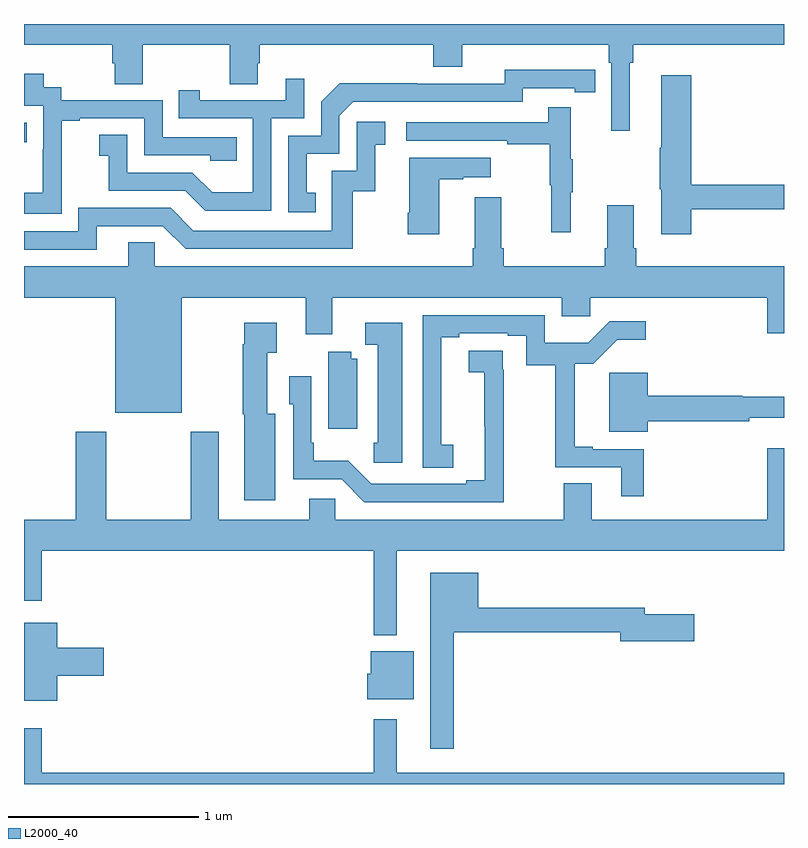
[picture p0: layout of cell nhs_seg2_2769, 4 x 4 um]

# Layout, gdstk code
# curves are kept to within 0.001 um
import gdstk
lib = gdstk.Library(unit=1e-6, precision=1e-09)
def R(c, l, rs):  # rectangles x0, y0, x1, y1
    for r in rs: c.add(gdstk.rectangle(r[:2], r[2:], *l))
def P(c, l, *ps):  # polygons
    for p in ps: c.add(gdstk.Polygon(p, *l))
L2000_40 = (2000, 40)

nhs_seg2_2769 = lib.new_cell('nhs_seg2_2769')
R(nhs_seg2_2769, L2000_40, [(257,591.178,257.015,591.279)])
P(nhs_seg2_2769, L2000_40, [(260.188,591.596),(260.207,591.596),(260.207,591.692),(261,591.692),(261,591.8),(257,591.8),(257,591.692),(257.465,591.692),(257.465,591.594),(257.477,591.594),(257.477,591.484),(257.625,591.484),(257.625,591.692),(258.082,591.692),(258.082,591.484),(258.229,591.484),(258.229,591.594),(258.242,591.594),(258.242,591.692),(259.154,591.692),(259.154,591.575),(259.306,591.575),(259.306,591.692),(260.078,591.692),(260.078,591.596),(260.091,591.596),(260.091,591.237),(260.188,591.237)],
  [(258.536,590.913),(258.487,590.913),(258.487,591.117),(258.66,591.117),(258.66,591.318),(258.732,591.39),(259.626,591.39),(259.626,591.462),(259.898,591.462),(259.898,591.442),(260.006,591.442),(260.006,591.558),(259.53,591.559),(259.53,591.486),(259.07,591.486),(259.07,591.488),(258.662,591.488),(258.564,591.39),(258.564,591.213),(258.39,591.213),(258.39,590.808),(258.536,590.808)],
  [(257.199,591.007),(257.198,591.007),(257.198,591.291),(257.293,591.291),(257.293,591.303),(257.634,591.303),(257.634,591.108),(257.979,591.108),(257.979,591.081),(258.119,591.081),(258.119,591.204),(257.73,591.204),(257.73,591.399),(257.196,591.399),(257.196,591.468),(257.104,591.468),(257.104,591.538),(257,591.538),(257,591.369),(257.1,591.369),(257.1,591.14),(257.099,591.14),(257.099,590.911),(257.001,590.911),(257.001,590.801),(257.199,590.801)],
  [(260.513,590.826),(261,590.826),(261,590.954),(260.513,590.954),(260.513,591.529),(260.354,591.529),(260.354,591.149),(260.347,591.149),(260.347,590.931),(260.354,590.931),(260.354,590.694),(260.513,590.694)],
  [(258.3,591.303),(258.474,591.303),(258.474,591.511),(258.377,591.511),(258.377,591.399),(257.926,591.399),(257.926,591.451),(257.815,591.451),(257.815,591.303),(258.204,591.303),(258.204,590.914),(257.99,590.914),(257.886,591.018),(257.544,591.018),(257.544,591.217),(257.397,591.217),(257.397,591.107),(257.446,591.107),(257.446,590.922),(257.849,590.922),(257.954,590.817),(258.3,590.817)],
  [(259.877,590.915),(259.888,590.915),(259.888,591.089),(259.877,591.089),(259.877,591.361),(259.759,591.361),(259.759,591.282),(259.011,591.282),(259.011,591.186),(259.543,591.186),(259.543,591.166),(259.767,591.166),(259.767,590.952),(259.774,590.952),(259.774,590.703),(259.877,590.703)],
  [(257.383,590.736),(257.73,590.736),(257.85,590.616),(258.73,590.616),(258.73,590.919),(258.848,590.919),(258.848,591.165),(258.901,591.165),(258.901,591.286),(258.75,591.286),(258.75,591.027),(258.621,591.027),(258.621,590.712),(257.892,590.712),(257.772,590.832),(257.286,590.832),(257.286,590.709),(257,590.709),(257,590.613),(257.383,590.613)],
  [(259.186,590.983),(259.313,590.983),(259.313,590.993),(259.456,590.993),(259.456,591.097),(259.028,591.097),(259.028,590.806),(259.021,590.806),(259.021,590.694),(259.186,590.694)],
  [(260.222,590.62),(260.209,590.62),(260.209,590.845),(260.069,590.845),(260.069,590.62),(260.057,590.62),(260.057,590.524),(259.526,590.524),(259.526,590.62),(259.513,590.62),(259.513,590.887),(259.373,590.887),(259.373,590.62),(259.361,590.62),(259.361,590.524),(257.688,590.524),(257.688,590.651),(257.549,590.651),(257.549,590.524),(257,590.524),(257,590.36),(257.48,590.36),(257.48,589.754),(257.83,589.754),(257.83,590.36),(258.482,590.36),(258.482,590.166),(258.622,590.166),(258.622,590.36),(259.829,590.36),(259.829,590.262),(259.981,590.262),(259.981,590.36),(260.912,590.36),(260.912,590.172),(261,590.172),(261,590.524),(260.222,590.524)],
  [(260.261,589.563),(259.993,589.563),(259.993,589.576),(259.898,589.576),(259.898,590.013),(259.997,590.013),(260.123,590.138),(260.272,590.138),(260.272,590.235),(260.082,590.235),(259.969,590.122),(259.74,590.122),(259.74,590.268),(259.098,590.268),(259.098,589.465),(259.258,589.465),(259.258,589.585),(259.197,589.585),(259.197,589.889),(259.195,589.889),(259.195,590.152),(259.291,590.152),(259.291,590.172),(259.547,590.172),(259.547,590.158),(259.644,590.158),(259.644,590.005),(259.795,590.005),(259.795,589.467),(260.144,589.467),(260.144,589.314),(260.261,589.314)],
  [(258.991,590.227),(258.795,590.227),(258.795,590.112),(258.863,590.112),(258.863,589.596),(258.841,589.596),(258.841,589.491),(258.991,589.491)],
  [(258.322,589.75),(258.28,589.75),(258.28,590.071),(258.331,590.071),(258.331,590.227),(258.158,590.227),(258.158,590.114),(258.151,590.114),(258.151,589.746),(258.158,589.746),(258.158,589.293),(258.322,589.293)],
  [(259.526,589.979),(259.52,589.979),(259.52,590.081),(259.341,590.081),(259.341,589.966),(259.423,589.966),(259.424,589.4),(259.328,589.4),(259.328,589.38),(258.828,589.38),(258.707,589.501),(258.526,589.501),(258.526,589.597),(258.513,589.597),(258.513,589.945),(258.396,589.945),(258.396,589.8),(258.417,589.8),(258.417,589.404),(258.672,589.404),(258.792,589.284),(259.526,589.284)],
  [(258.754,590.038),(258.722,590.038),(258.722,590.075),(258.602,590.075),(258.602,589.671),(258.754,589.671)],
  [(260.284,589.708),(260.816,589.708),(260.816,589.727),(261,589.727),(261,589.837),(260.78,589.837),(260.78,589.844),(260.284,589.844),(260.284,589.965),(260.081,589.965),(260.081,589.655),(260.284,589.655)],
  [(258.961,589.028),(261,589.028),(261,589.567),(260.912,589.567),(260.912,589.192),(259.987,589.192),(259.987,589.382),(259.84,589.382),(259.84,589.192),(258.639,589.192),(258.639,589.302),(258.5,589.302),(258.5,589.192),(258.025,589.192),(258.025,589.654),(257.878,589.654),(257.878,589.192),(257.433,589.192),(257.433,589.654),(257.273,589.654),(257.273,589.192),(257,589.192),(257,588.765),(257.093,588.765),(257.093,589.028),(258.84,589.028),(258.84,588.584),(258.961,588.584)],
  [(259.261,588.598),(260.138,588.598),(260.138,588.551),(260.527,588.551),(260.527,588.693),(260.266,588.693),(260.266,588.727),(259.39,588.727),(259.39,588.913),(259.139,588.913),(259.139,587.985),(259.261,587.985)],
  [(257.176,588.371),(257.419,588.371),(257.419,588.518),(257.176,588.518),(257.176,588.649),(257,588.649),(257,588.239),(257.176,588.239)],
  [(259.051,588.499),(258.824,588.499),(258.824,588.381),(258.806,588.381),(258.806,588.245),(259.051,588.245)],
  [(261,587.86),(258.961,587.86),(258.961,588.142),(258.84,588.142),(258.84,587.86),(257.093,587.86),(257.093,588.094),(257,588.094),(257,587.8),(261,587.8)])

lib.write_gds('nhs_seg2_2769.gds')
